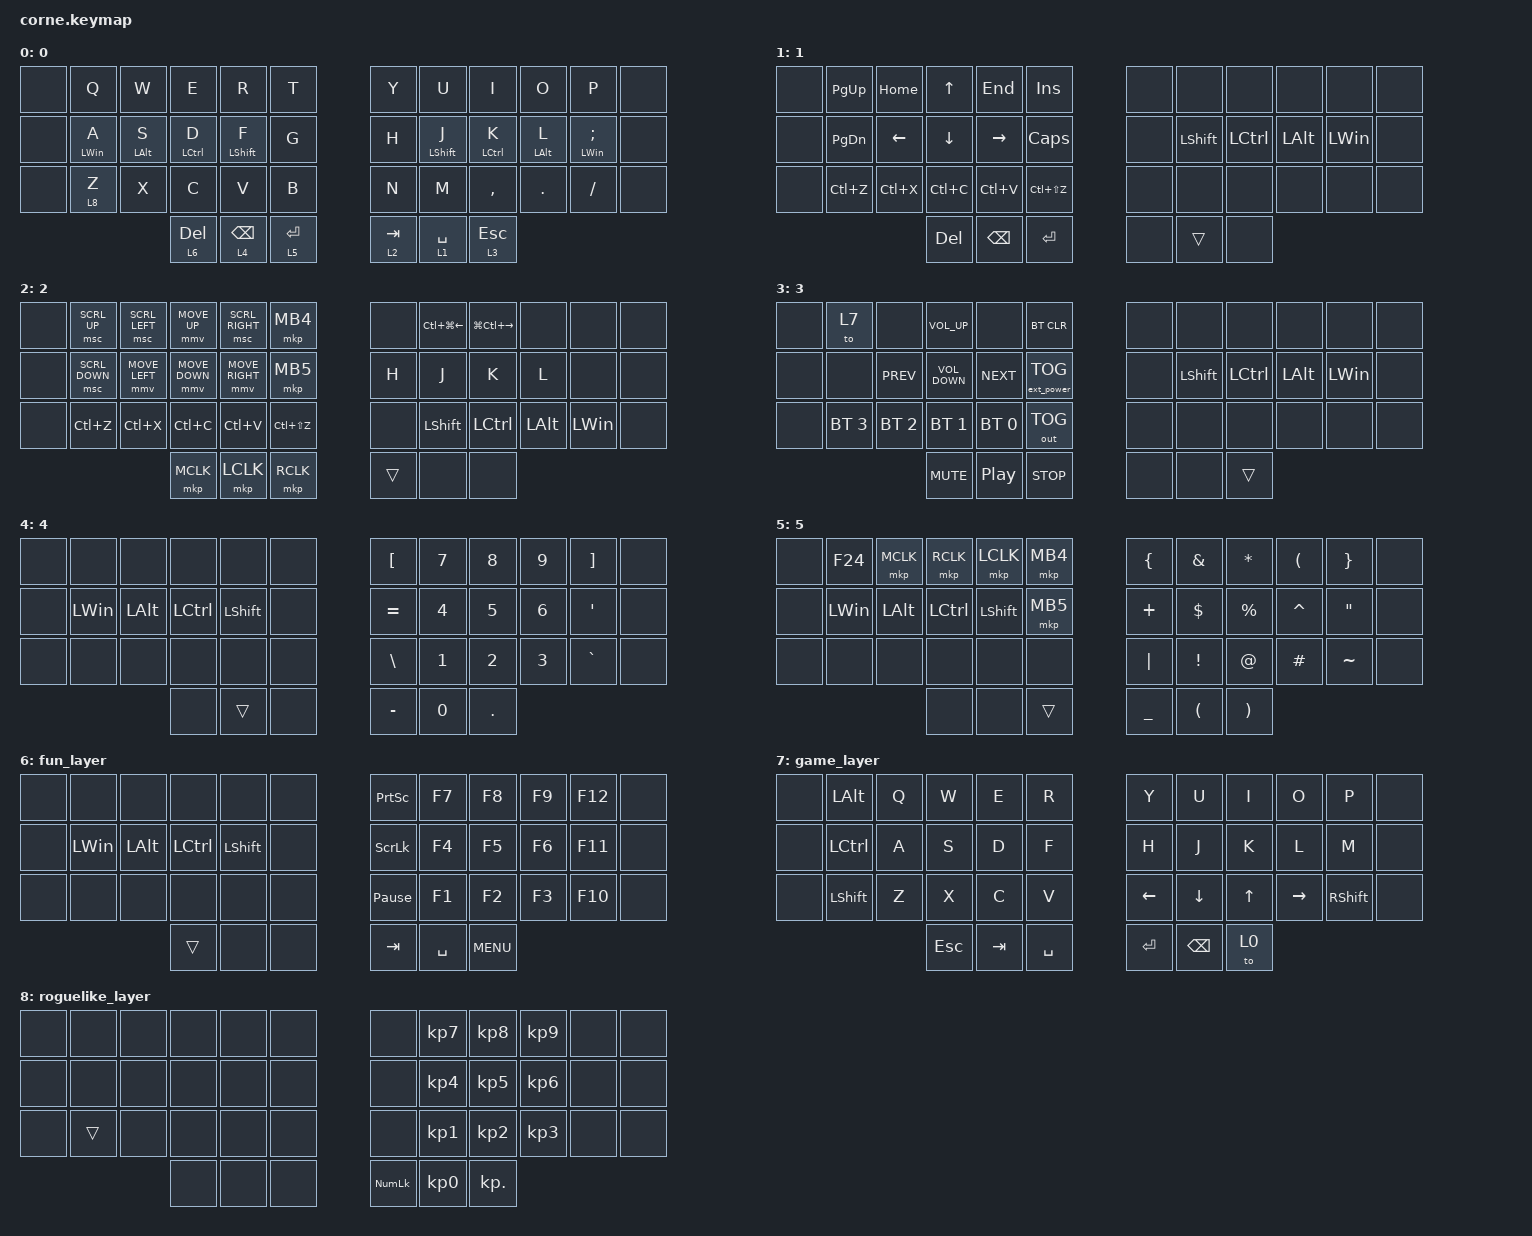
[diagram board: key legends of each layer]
/*
 * Copyright (c) 2020 The ZMK Contributors
 *
 * SPDX-License-Identifier: MIT
 */

#include <dt-bindings/zmk/mouse.h>
#include <behaviors.dtsi>
#include <dt-bindings/zmk/bt.h>
#include <dt-bindings/zmk/ext_power.h>
#include <dt-bindings/zmk/keys.h>
#include <dt-bindings/zmk/outputs.h>
#include <dt-bindings/zmk/pointing.h>

#define DEFAULT_L 0
#define SYMBOLS_L 1
#define ARROWS_L  2
#define NUMBERS_L 3

/ {
    behaviors {
        hm: homerow_mods {
            compatible = "zmk,behavior-hold-tap";
            label = "HOMEROW_MODS";
            #binding-cells = <2>;
            tapping-term-ms = <300>;
            quick-tap-ms = <200>;
            flavor = "tap-preferred";
            bindings = <&kp>, <&kp>;
        };
    };

    combos {
        compatible = "zmk,combos";

        a {
            bindings = <&kp MINUS>;
            key-positions = <8 7>;
        };

        b {
            bindings = <&kp UNDERSCORE>;
            key-positions = <8 9>;
        };

        c {
            bindings = <&kp DOUBLE_QUOTES>;
            key-positions = <31 32>;
        };

        d {
            bindings = <&kp SINGLE_QUOTE>;
            key-positions = <32 33>;
        };

        e {
            bindings = <&kp GRAVE>;
            key-positions = <30 31>;
        };

        f {
            bindings = <&kp COLON>;
            key-positions = <7 18>;
        };

        g {
            bindings = <&kp DOLLAR>;
            key-positions = <2 3>;
        };

        h {
            bindings = <&kp EQUAL>;
            key-positions = <3 4>;
        };

        i {
            bindings = <&kp EXCLAMATION>;
            key-positions = <1 2>;
        };

        j {
            bindings = <&kp LC(S)>;
            key-positions = <4 17>;
        };

        k {
            bindings = <&kp LC(C)>;
            key-positions = <26 27>;
        };

        l {
            bindings = <&kp LC(V)>;
            key-positions = <27 28>;
        };

        m {
            bindings = <&kp TILDE>;
            key-positions = <28 29>;
        };

        n {
            bindings = <&kp BACKSLASH>;
            key-positions = <17 5>;
        };

        o {
            bindings = <&kp PIPE>;
            key-positions = <6 18>;
        };

        p {
            bindings = <&kp PLUS>;
            key-positions = <10 9>;
        };
    };

    keymap {
        compatible = "zmk,keymap";

        default_layer {
            label = "0";
            bindings = <
&none  &kp Q           &kp W           &kp E         &kp R             &kp T          &kp Y      &kp U             &kp I        &kp O           &kp P                   &none
&none  &hm LEFT_WIN A  &hm LEFT_ALT S  &hm LCTRL D   &hm LEFT_SHIFT F  &kp G          &kp H      &hm LEFT_SHIFT J  &hm LCTRL K  &hm LEFT_ALT L  &hm LEFT_WIN SEMICOLON  &none
&none  &lt 8 Z         &kp X           &kp C         &kp V             &kp B          &kp N      &kp M             &kp COMMA    &kp DOT         &kp FSLH                &none
                                       &lt 6 DELETE  &lt 4 BACKSPACE   &lt 5 ENTER    &lt 2 TAB  &lt 1 SPACE       &lt 3 ESC
            >;
        };

        nav_layer {
            label = "1";
            bindings = <
&none  &kp PAGE_UP    &kp HOME        &kp UP_ARROW    &kp END          &kp INSERT       &none  &none           &none      &none         &none         &none
&none  &kp PAGE_DOWN  &kp LEFT_ARROW  &kp DOWN_ARROW  &kp RIGHT_ARROW  &kp CAPSLOCK     &none  &kp LEFT_SHIFT  &kp LCTRL  &kp LEFT_ALT  &kp LEFT_WIN  &none
&none  &kp LC(Z)      &kp LC(X)       &kp LC(C)       &kp LC(V)        &kp LC(LS(Z))    &none  &none           &none      &none         &none         &none
                                      &kp DELETE      &kp BACKSPACE    &kp ENTER        &none  &trans          &none
            >;
        };

        mouse_layer {
            label = "2";
            bindings = <
&none  &msc SCRL_UP    &msc SCRL_LEFT  &mmv MOVE_UP    &msc SCRL_RIGHT  &mkp MB4         &none   &kp LC(LG(LEFT_ARROW))  &kp LG(LC(RIGHT_ARROW))  &none         &none         &none
&none  &msc SCRL_DOWN  &mmv MOVE_LEFT  &mmv MOVE_DOWN  &mmv MOVE_RIGHT  &mkp MB5         &kp H   &kp J                   &kp K                    &kp L         &none         &none
&none  &kp LC(Z)       &kp LC(X)       &kp LC(C)       &kp LC(V)        &kp LC(LS(Z))    &none   &kp LEFT_SHIFT          &kp LCTRL                &kp LEFT_ALT  &kp LEFT_WIN  &none
                                       &mkp MCLK       &mkp LCLK        &mkp RCLK        &trans  &none                   &none
            >;
        };

        media_layer {
            label = "3";
            bindings = <
&none  &to 7         &none         &kp C_VOLUME_UP    &none         &bt BT_CLR           &none  &none           &none             &none         &none         &none
&none  &none         &kp C_PREV    &kp C_VOLUME_DOWN  &kp C_NEXT    &ext_power EP_TOG    &none  &kp LEFT_SHIFT  &kp LEFT_CONTROL  &kp LEFT_ALT  &kp LEFT_WIN  &none
&none  &bt BT_SEL 3  &bt BT_SEL 2  &bt BT_SEL 1       &bt BT_SEL 0  &out OUT_TOG         &none  &none           &none             &none         &none         &none
                                   &kp C_MUTE         &kp C_PP      &kp C_STOP           &none  &none           &trans
            >;
        };

        number_layer {
            bindings = <
&none  &none         &none         &none      &none           &none    &kp LEFT_BRACKET  &kp NUMBER_7  &kp NUMBER_8  &kp NUMBER_9  &kp RIGHT_BRACKET  &none
&none  &kp LEFT_WIN  &kp LEFT_ALT  &kp LCTRL  &kp LEFT_SHIFT  &none    &kp EQUAL         &kp NUMBER_4  &kp NUMBER_5  &kp NUMBER_6  &kp SINGLE_QUOTE   &none
&none  &none         &none         &none      &none           &none    &kp BACKSLASH     &kp NUMBER_1  &kp NUMBER_2  &kp NUMBER_3  &kp GRAVE          &none
                                   &none      &trans          &none    &kp MINUS         &kp N0        &kp PERIOD
            >;

            label = "4";
        };

        symbol_layer {
            bindings = <
&none  &kp F24       &mkp MCLK     &mkp RCLK  &mkp LCLK       &mkp MB4    &kp LEFT_BRACE  &kp AMPERSAND         &kp ASTERISK           &kp LEFT_PARENTHESIS  &kp RIGHT_BRACE    &none
&none  &kp LEFT_WIN  &kp LEFT_ALT  &kp LCTRL  &kp LEFT_SHIFT  &mkp MB5    &kp PLUS        &kp DOLLAR            &kp PERCENT            &kp CARET             &kp DOUBLE_QUOTES  &none
&none  &none         &none         &none      &none           &none       &kp PIPE        &kp EXCLAMATION       &kp AT_SIGN            &kp HASH              &kp TILDE          &none
                                   &none      &none           &trans      &kp UNDERSCORE  &kp LEFT_PARENTHESIS  &kp RIGHT_PARENTHESIS
            >;

            label = "5";
        };

        fun_layer {
            bindings = <
&none  &none         &none         &none      &none           &none    &kp PRINTSCREEN  &kp F7     &kp F8      &kp F9  &kp F12  &none
&none  &kp LEFT_WIN  &kp LEFT_ALT  &kp LCTRL  &kp LEFT_SHIFT  &none    &kp SCROLLLOCK   &kp F4     &kp F5      &kp F6  &kp F11  &none
&none  &none         &none         &none      &none           &none    &kp PAUSE_BREAK  &kp F1     &kp F2      &kp F3  &kp F10  &none
                                   &trans     &none           &none    &kp TAB          &kp SPACE  &kp C_MENU
            >;
        };

        game_layer {
            bindings = <
&none  &kp LALT   &kp Q  &kp W    &kp E    &kp R        &kp Y           &kp U           &kp I         &kp O            &kp P      &none
&none  &kp LCTRL  &kp A  &kp S    &kp D    &kp F        &kp H           &kp J           &kp K         &kp L            &kp M      &none
&none  &kp LSHFT  &kp Z  &kp X    &kp C    &kp V        &kp LEFT_ARROW  &kp DOWN_ARROW  &kp UP_ARROW  &kp RIGHT_ARROW  &kp RSHFT  &none
                         &kp ESC  &kp TAB  &kp SPACE    &kp ENTER       &kp BSPC        &to 0
            >;
        };

        roguelike_layer {
            bindings = <
&none  &none   &none  &none  &none  &none    &none           &kp KP_NUMBER_7  &kp KP_NUMBER_8  &kp KP_NUMBER_9  &none  &none
&none  &none   &none  &none  &none  &none    &none           &kp KP_NUMBER_4  &kp KP_NUMBER_5  &kp KP_NUMBER_6  &none  &none
&none  &trans  &none  &none  &none  &none    &none           &kp KP_NUMBER_1  &kp KP_NUMBER_2  &kp KP_NUMBER_3  &none  &none
                      &none  &none  &none    &kp KP_NUMLOCK  &kp KP_NUMBER_0  &kp KP_DOT
            >;
        };
    };
};
